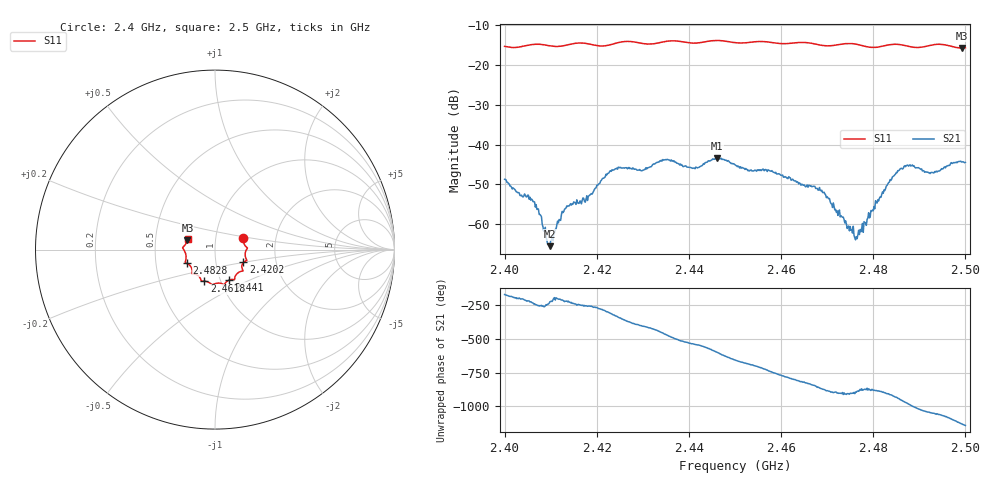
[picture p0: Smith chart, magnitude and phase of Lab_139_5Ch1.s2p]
# Hz S RI R 50
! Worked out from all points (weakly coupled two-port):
!   601 points, 2.4 GHz to 2.5 GHz, reference 50 ohm
!   highest |S21| = -43.42 dB at 2.4462 GHz (marker M1); lowest = -65.5 dB at 2.4098 GHz (marker M2)
!   lowest |S11| = -15.8 dB at 2.4993 GHz (marker M3), VSWR 1.39, Z = 36.5 + j3.84 ohm
!   |S11| at or under -10 dB: start of sweep to end of sweep
!   S12 and S22 are empty: the file has one direction only
!   S11 on the Smith chart (normalised r, x): 2.4 GHz: 1.36, +0.18; 2.4202 GHz: 1.36, -0.20; 2.441 GHz: 1.10, -0.39; 2.4618 GHz: 0.84, -0.30; 2.4828 GHz: 0.72, -0.11; 2.5 GHz: 0.73, +0.09
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2.4e9  0.1581 0.0628  -0.00359 -0.000695  0 0  0 0
2.406333e9  0.1802 0.0104  -0.000991 0.00164  0 0  0 0
2.409833e9  0.1726 -0.00483  -0.000389 0.000362  0 0  0 0
2.413e9  0.1695 -0.04  -0.00115 0.00103  0 0  0 0
2.416667e9  0.1775 -0.0608  -0.000655 0.00168  0 0  0 0
2.420167e9  0.1583 -0.0712  -8.19e-05 0.00306  0 0  0 0
2.423833e9  0.1509 -0.1059  0.00382 0.00298  0 0  0 0
2.43e9  0.1364 -0.1247  0.00339 -0.00334  0 0  0 0
2.433333e9  0.1113 -0.151  0.00108 -0.00592  0 0  0 0
2.441e9  0.0785 -0.1696  -0.00506 -0.000238  0 0  0 0
2.446167e9  0.0499 -0.1956  -0.00343 0.00581  0 0  0 0
2.45e9  0.0282 -0.1874  0.00238 0.00504  0 0  0 0
2.461833e9  -0.0594 -0.1758  0.00133 -0.00361  0 0  0 0
2.466667e9  -0.0787 -0.1682  -0.0015 -0.00255  0 0  0 0
2.469167e9  -0.0888 -0.1498  -0.00225 -0.00109  0 0  0 0
2.476333e9  -0.1272 -0.1289  -0.000698 -5.85e-05  0 0  0 0
2.482833e9  -0.1576 -0.0766  -0.00299 0.000264  0 0  0 0
2.483333e9  -0.1608 -0.0753  -0.00331 0.000359  0 0  0 0
2.487167e9  -0.1629 -0.0584  -0.0016 0.00522  0 0  0 0
2.492667e9  -0.1767 0.00323  0.00386 0.00226  0 0  0 0
2.499333e9  -0.1538 0.0513  0.00364 -0.00485  0 0  0 0
2.5e9  -0.152 0.0609  0.00277 -0.00529  0 0  0 0
